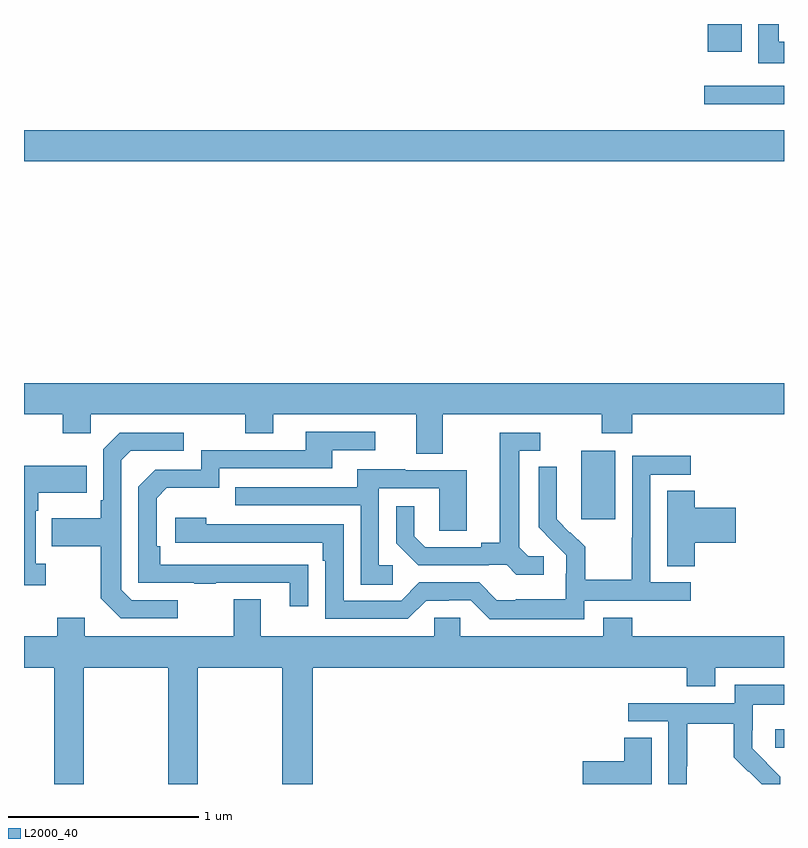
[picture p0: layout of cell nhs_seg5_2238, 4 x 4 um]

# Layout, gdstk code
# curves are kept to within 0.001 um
import gdstk
lib = gdstk.Library(unit=1e-6, precision=1e-09)
def R(c, l, rs):  # rectangles x0, y0, x1, y1
    for r in rs: c.add(gdstk.rectangle(r[:2], r[2:], *l))
def P(c, l, *ps):  # polygons
    for p in ps: c.add(gdstk.Polygon(p, *l))
L2000_40 = (2000, 40)

nhs_seg5_2238 = lib.new_cell('nhs_seg5_2238')
R(nhs_seg5_2238, L2000_40, [(244.953,870.99,245,871.087), (243.932,872.193,244.111,872.554), (241,874.076,245,874.24), (244.581,874.376,245,874.473), (244.598,874.652,244.777,874.799)])
P(nhs_seg5_2238, L2000_40, [(245,874.706),(244.972,874.706),(244.972,874.799),(244.865,874.799),(244.865,874.593),(245,874.593)],
  [(243.205,872.744),(244.042,872.744),(244.042,872.645),(244.202,872.645),(244.202,872.744),(245,872.744),(245,872.908),(241,872.908),(241,872.744),(241.204,872.744),(241.204,872.645),(241.35,872.645),(241.35,872.744),(242.164,872.744),(242.164,872.645),(242.311,872.645),(242.311,872.744),(243.065,872.744),(243.065,872.536),(243.205,872.536)],
  [(242.495,871.952),(241.718,871.953),(241.718,872.05),(241.698,872.05),(241.698,872.304),(241.751,872.357),(242.028,872.357),(242.028,872.46),(242.623,872.46),(242.623,872.556),(242.848,872.556),(242.848,872.652),(242.483,872.652),(242.483,872.556),(241.932,872.556),(241.932,872.454),(241.692,872.454),(241.602,872.364),(241.602,871.857),(241.897,871.857),(241.897,871.852),(242.009,871.852),(242.009,871.857),(242.399,871.857),(242.399,871.734),(242.495,871.734)],
  [(241.81,871.767),(241.566,871.767),(241.512,871.821),(241.512,872.502),(241.563,872.553),(241.84,872.553),(241.84,872.649),(241.503,872.649),(241.416,872.562),(241.416,872.293),(241.404,872.293),(241.404,872.197),(241.147,872.197),(241.147,872.05),(241.404,872.05),(241.404,871.777),(241.509,871.671),(241.81,871.671)],
  [(243.736,871.998),(243.654,871.998),(243.607,872.045),(243.607,872.553),(243.718,872.553),(243.718,872.649),(243.503,872.649),(243.503,872.069),(243.407,872.069),(243.407,872.046),(243.112,872.046),(243.055,872.103),(243.055,872.26),(242.958,872.26),(242.958,872.066),(243.074,871.95),(243.446,871.95),(243.446,871.953),(243.54,871.953),(243.592,871.901),(243.736,871.901)],
  [(243.948,871.764),(244.51,871.764),(244.51,871.86),(244.296,871.86),(244.296,872.427),(244.51,872.427),(244.51,872.526),(244.2,872.526),(244.2,872.096),(244.198,872.096),(244.198,871.873),(243.953,871.873),(243.953,872.047),(243.876,872.124),(243.873,872.121),(243.803,872.192),(243.804,872.468),(243.708,872.468),(243.708,872.15),(243.854,872.002),(243.854,871.905),(243.852,871.905),(243.852,871.771),(243.589,871.771),(243.589,871.767),(243.489,871.767),(243.396,871.86),(243.081,871.86),(242.985,871.764),(242.682,871.764),(242.682,872.166),(241.958,872.166),(241.958,872.2),(241.797,872.2),(241.797,872.07),(242.573,872.07),(242.573,871.973),(242.586,871.973),(242.586,871.668),(243.021,871.668),(243.117,871.764),(243.236,871.764),(243.236,871.767),(243.351,871.767),(243.451,871.667),(243.948,871.667)],
  [(241.114,871.958),(241.062,871.958),(241.062,872.237),(241.075,872.237),(241.075,872.333),(241.331,872.333),(241.331,872.473),(241,872.473),(241,871.845),(241.114,871.845)],
  [(242.941,871.95),(242.868,871.95),(242.868,872.355),(243.186,872.355),(243.186,872.131),(243.331,872.131),(243.331,872.451),(243.007,872.451),(243.007,872.455),(242.753,872.455),(242.753,872.361),(242.113,872.361),(242.113,872.265),(242.772,872.265),(242.772,871.849),(242.941,871.849)],
  [(244.529,872.069),(244.747,872.069),(244.747,872.252),(244.529,872.252),(244.529,872.342),(244.385,872.342),(244.385,871.945),(244.529,871.945)],
  [(241.314,871.412),(241.759,871.412),(241.759,870.799),(241.914,870.799),(241.914,871.412),(242.359,871.412),(242.359,870.799),(242.519,870.799),(242.519,871.412),(244.487,871.412),(244.487,871.313),(244.639,871.313),(244.639,871.412),(245,871.412),(245,871.576),(244.202,871.576),(244.202,871.675),(244.049,871.675),(244.049,871.576),(243.297,871.576),(243.297,871.674),(243.159,871.674),(243.159,871.576),(242.245,871.576),(242.245,871.771),(242.105,871.771),(242.105,871.576),(241.321,871.576),(241.321,871.675),(241.174,871.675),(241.174,871.576),(241,871.576),(241,871.412),(241.159,871.412),(241.159,870.799),(241.314,870.799)],
  [(244.488,870.892),(244.491,870.892),(244.491,871.116),(244.735,871.116),(244.735,870.941),(244.812,870.864),(244.815,870.867),(244.884,870.799),(244.98,870.799),(244.98,870.838),(244.834,870.986),(244.834,871.083),(244.836,871.083),(244.836,871.217),(245,871.217),(245,871.321),(244.74,871.321),(244.74,871.224),(244.179,871.224),(244.179,871.128),(244.392,871.128),(244.392,870.799),(244.488,870.799)],
  [(244.303,871.043),(244.16,871.043),(244.16,870.92),(243.942,870.92),(243.942,870.799),(244.303,870.799)])

lib.write_gds('nhs_seg5_2238.gds')
